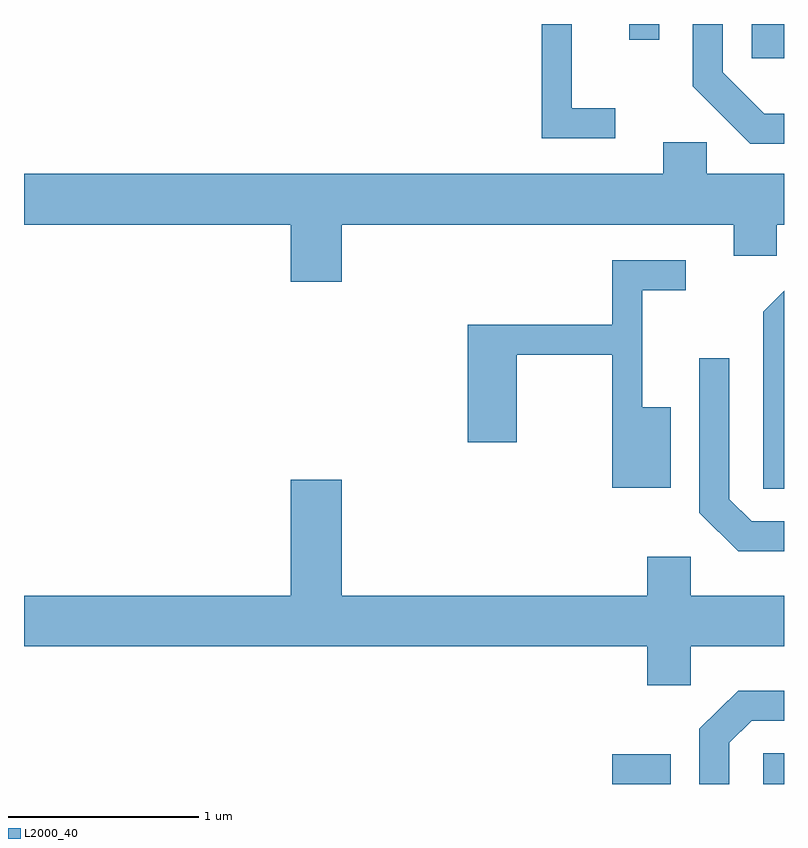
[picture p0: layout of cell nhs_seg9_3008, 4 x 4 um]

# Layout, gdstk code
import gdstk
lib = gdstk.Library(unit=1e-6, precision=1e-09)
def R(c, l, rs):  # rectangles x0, y0, x1, y1
    for r in rs: c.add(gdstk.rectangle(r[:2], r[2:], *l))
def P(c, l, *ps):  # polygons
    for p in ps: c.add(gdstk.Polygon(p, *l))
L2000_40 = (2000, 40)

nhs_seg9_3008 = lib.new_cell('nhs_seg9_3008')
R(nhs_seg9_3008, L2000_40, [(276.706,1984.432,277.014,1984.589), (277.501,1984.432,277.611,1984.594), (277.441,1988.251,277.611,1988.432), (276.796,1988.348,276.954,1988.432)])
P(nhs_seg9_3008, L2000_40, [(276.723,1987.989),(276.494,1987.989),(276.494,1988.432),(276.336,1988.432),(276.336,1987.831),(276.723,1987.831)],
  [(277.611,1987.959),(277.507,1987.959),(277.289,1988.177),(277.289,1988.432),(277.131,1988.432),(277.131,1988.104),(277.434,1987.801),(277.611,1987.801)],
  [(275.284,1987.376),(277.346,1987.376),(277.346,1987.211),(277.574,1987.211),(277.574,1987.376),(277.611,1987.376),(277.611,1987.644),(277.204,1987.644),(277.204,1987.809),(276.976,1987.809),(276.976,1987.644),(273.611,1987.644),(273.611,1987.376),(275.016,1987.376),(275.016,1987.076),(275.284,1987.076)],
  [(277.014,1986.414),(276.864,1986.414),(276.864,1987.031),(277.093,1987.031),(277.093,1987.189),(276.706,1987.189),(276.706,1986.849),(275.946,1986.849),(275.946,1986.231),(276.204,1986.231),(276.204,1986.691),(276.706,1986.691),(276.706,1985.991),(277.014,1985.991)],
  [(277.611,1987.027),(277.501,1986.917),(277.501,1985.986),(277.611,1985.986)],
  [(277.611,1985.814),(277.442,1985.814),(277.324,1985.932),(277.324,1986.673),(277.166,1986.673),(277.166,1985.859),(277.369,1985.656),(277.611,1985.656)],
  [(277.119,1985.156),(277.611,1985.156),(277.611,1985.424),(277.119,1985.424),(277.119,1985.629),(276.891,1985.629),(276.891,1985.424),(275.284,1985.424),(275.284,1986.034),(275.016,1986.034),(275.016,1985.424),(273.611,1985.424),(273.611,1985.156),(276.891,1985.156),(276.891,1984.951),(277.119,1984.951)],
  [(277.324,1984.649),(277.442,1984.766),(277.611,1984.766),(277.611,1984.924),(277.369,1984.924),(277.166,1984.722),(277.166,1984.432),(277.324,1984.432)])

lib.write_gds('nhs_seg9_3008.gds')
